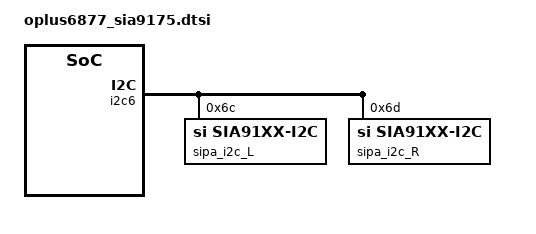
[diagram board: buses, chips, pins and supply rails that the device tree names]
/* Copyright (c) 2018, The Linux Foundation. All rights reserved.
 *
 * This program is free software; you can redistribute it and/or modify
 * it under the terms of the GNU General Public License version 2 and
 * only version 2 as published by the Free Software Foundation.
 *
 * This program is distributed in the hope that it will be useful,
 * but WITHOUT ANY WARRANTY; without even the implied warranty of
 * MERCHANTABILITY or FITNESS FOR A PARTICULAR PURPOSE.  See the
 * GNU General Public License for more details.
 */

&pio {
	sia91xx_gpio_L: sia91xx_gpio_L {
		pins_cmd_dat {
			pinmux = <PINMUX_GPIO111__FUNC_GPIO111>;
			slew-rate = <1>;
			bias-disable;
		};
	};

	sia91xx_gpio_R: sia91xx_gpio_R {
		pins_cmd_dat {
			pinmux = <PINMUX_GPIO107__FUNC_GPIO107>;
			slew-rate = <1>;
			bias-disable;
		};
	};
};

&si_pa_L {
	compatible = "si,sia91xx";
	si,si_pa_type = "sia9175";
	si,si_pa_reset = <&pio 111 0>;
	pinctrl-names = "si_pa_gpio";
	pinctrl-0 = <&sia91xx_gpio_L>;
	si,si_pa_disable_pin = <0>;
	sipa_min_range = <5000>;
	sipa_max_range = <7800>;

	channel_num = <0>;
};

&si_pa_R {
	compatible = "si,sia91xx";
	si,si_pa_type = "sia9175";
	si,si_pa_reset = <&pio 107 0>;
	pinctrl-names = "si_pa_gpio";
	pinctrl-0 = <&sia91xx_gpio_R>;
	si,si_pa_disable_pin = <0>;
	sipa_min_range = <5000>;
	sipa_max_range = <7800>;

	channel_num = <1>;
};

&i2c6 {
	sipa_i2c_L: sipa_i2c@6c{
		compatible = "si,sia91xx-i2c";
		#sound-dai-cells = <0>;
		reg = <0x6c>;
		si,sipa-dev = <&si_pa_L>;
		status = "okay";
	};

	sipa_i2c_R: sipa_i2c@6d{
		compatible = "si,sia91xx-i2c";
		#sound-dai-cells = <0>;
		reg = <0x6d>;
		si,sipa-dev = <&si_pa_R>;
		status = "okay";
	};
};

&sound {
	si,sia81xx-max-num = <2>;
	si,sia81xx-aux-devs = <&sipa_i2c_L>, <&sipa_i2c_R>;
	si,sia81xx-aux-devs-prefix = "SpkrLeft", "SpkrRight";

	mtk_spk_i2s_out = <3>;
	mtk_spk_i2s_in = <9>;
	mediatek,speaker-codec {
		sound-dai = <&sipa_i2c_L>, <&sipa_i2c_R>;
	};

};

